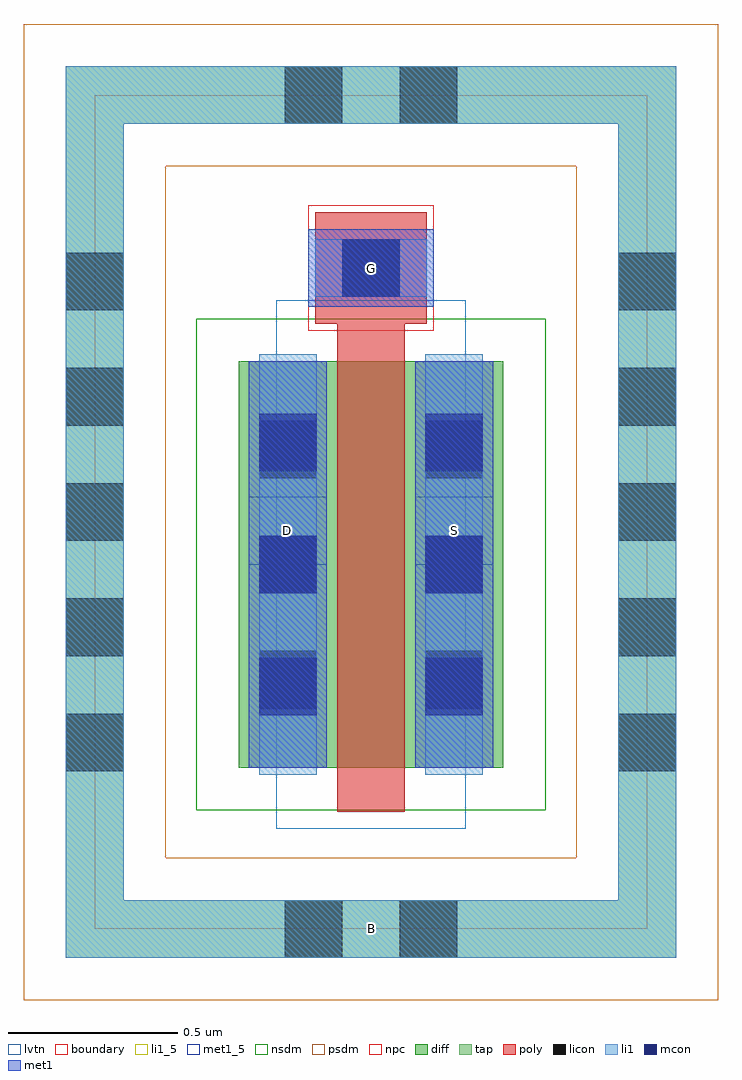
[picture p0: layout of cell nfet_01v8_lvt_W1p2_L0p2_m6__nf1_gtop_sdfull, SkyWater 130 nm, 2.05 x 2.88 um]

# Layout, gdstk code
import gdstk
lib = gdstk.Library(unit=1e-6, precision=1e-09)
def R(c, l, rs):  # rectangles x0, y0, x1, y1
    for r in rs: c.add(gdstk.rectangle(r[:2], r[2:], *l))
def A(c, l, x, y, w, h, nx, ny, dx, dy):  # array of equal rectangles
    R(c, l, [(x+i*dx, y+j*dy, x+i*dx+w, y+j*dy+h) for i in range(nx) for j in range(ny)])
diff = (65, 20)
tap = (65, 44)
poly = (66, 20)
licon = (66, 44)
li1_5 = (67, 5)
li1 = (67, 20)
mcon = (67, 44)
met1_5 = (68, 5)
met1 = (68, 20)
nsdm = (93, 44)
psdm = (94, 20)
npc = (95, 20)
lvtn = (125, 44)
boundary = (235, 4)

sky130_fd_pr__nfet_01v8_ = lib.new_cell('sky130_fd_pr__nfet_01v8_lvt_YGKF8Y')
R(sky130_fd_pr__nfet_01v8_, diff, [(-0.39,-0.755,0.39,0.445)])
R(sky130_fd_pr__nfet_01v8_, tap, [(-0.9,-1.315,0.9,-1.145), (-0.9,-1.145,-0.73,1.145), (0.73,-1.145,0.9,1.145), (-0.9,1.145,0.9,1.315)])
R(sky130_fd_pr__nfet_01v8_, poly, [(-0.1,-0.885,0.1,0.555), (-0.165,0.555,0.165,0.885)])
A(sky130_fd_pr__nfet_01v8_, licon, -0.9, -0.765, 0.17, 0.17, 1, 5, 0, 0.34)
A(sky130_fd_pr__nfet_01v8_, licon, 0.73, -0.765, 0.17, 0.17, 1, 5, 0, 0.34)
A(sky130_fd_pr__nfet_01v8_, licon, -0.33, -0.58, 0.17, 0.17, 1, 3, 0, 0.34)
A(sky130_fd_pr__nfet_01v8_, licon, 0.16, -0.58, 0.17, 0.17, 1, 3, 0, 0.34)
R(sky130_fd_pr__nfet_01v8_, licon, [(-0.255,-1.315,-0.085,-1.145), (0.085,-1.315,0.255,-1.145), (-0.085,0.635,0.085,0.805), (-0.255,1.145,-0.085,1.315), (0.085,1.145,0.255,1.315)])
R(sky130_fd_pr__nfet_01v8_, li1, [(-0.9,-1.315,0.9,-1.145), (-0.9,-1.145,-0.73,1.145), (0.73,-1.145,0.9,1.145), (-0.33,-0.775,-0.16,0.465), (0.16,-0.775,0.33,0.465), (-0.165,0.635,0.165,0.805), (-0.9,1.145,0.9,1.315)])
A(sky130_fd_pr__nfet_01v8_, mcon, -0.33, -0.6, 0.17, 0.17, 1, 3, 0, 0.36)
A(sky130_fd_pr__nfet_01v8_, mcon, 0.16, -0.6, 0.17, 0.17, 1, 3, 0, 0.36)
R(sky130_fd_pr__nfet_01v8_, mcon, [(-0.085,0.635,0.085,0.805)])
R(sky130_fd_pr__nfet_01v8_, met1, [(-0.36,-0.755,-0.13,0.445), (0.13,-0.755,0.36,0.445), (-0.145,0.605,0.145,0.835)])
R(sky130_fd_pr__nfet_01v8_, nsdm, [(-0.515,-0.88,0.515,0.57)])
R(sky130_fd_pr__nfet_01v8_, psdm, [(-1.025,-1.44,1.025,-1.02), (-1.025,-1.02,-0.605,1.02), (0.605,-1.02,1.025,1.02), (-1.025,1.02,1.025,1.44)])
R(sky130_fd_pr__nfet_01v8_, npc, [(-0.185,0.535,0.185,0.905)])
R(sky130_fd_pr__nfet_01v8_, lvtn, [(-0.28,-0.935,0.28,0.625)])
R(sky130_fd_pr__nfet_01v8_, boundary, [(-0.815,-1.23,0.815,1.23)])
sky130_fd_pr__nfet_01v8_.add(gdstk.Label('B', (0,-1.23), layer=67, texttype=5))
sky130_fd_pr__nfet_01v8_.add(gdstk.Label('D', (-0.245,-0.155), layer=67, texttype=5))
sky130_fd_pr__nfet_01v8_.add(gdstk.Label('S', (0.245,-0.155), layer=67, texttype=5))
sky130_fd_pr__nfet_01v8_.add(gdstk.Label('G', (0,0.72), layer=67, texttype=5))

nfet_01v8_lvt_w1p2_l0p2_ = lib.new_cell('nfet_01v8_lvt_W1p2_L0p2_m6__nf1_gtop_sdfull')
R(nfet_01v8_lvt_w1p2_l0p2_, li1_5, [(0.73,-0.085,0.9,0.085)])
R(nfet_01v8_lvt_w1p2_l0p2_, li1, [(0.73,-0.085,0.9,0.085)])
R(nfet_01v8_lvt_w1p2_l0p2_, met1_5, [(0.455,1.075,0.685,1.275), (0.945,1.075,1.175,1.275), (0.63,1.835,1,2.065)])
R(nfet_01v8_lvt_w1p2_l0p2_, met1, [(0.455,1.075,0.685,1.275), (0.945,1.075,1.175,1.275), (0.63,1.835,1,2.065)])
nfet_01v8_lvt_w1p2_l0p2_.add(gdstk.Reference(sky130_fd_pr__nfet_01v8_, (0.815,1.23)))
nfet_01v8_lvt_w1p2_l0p2_.add(gdstk.Label('D', (0.57,1.175), layer=68, texttype=5))
nfet_01v8_lvt_w1p2_l0p2_.add(gdstk.Label('S', (1.06,1.175), layer=68, texttype=5))
nfet_01v8_lvt_w1p2_l0p2_.add(gdstk.Label('G', (0.815,1.95), layer=68, texttype=5))
nfet_01v8_lvt_w1p2_l0p2_.add(gdstk.Label('B', (0.815,0), layer=67, texttype=5))

lib.write_gds('nfet_01v8_lvt_W1p2_L0p2_m6__nf1_gtop_sdfull.gds')
